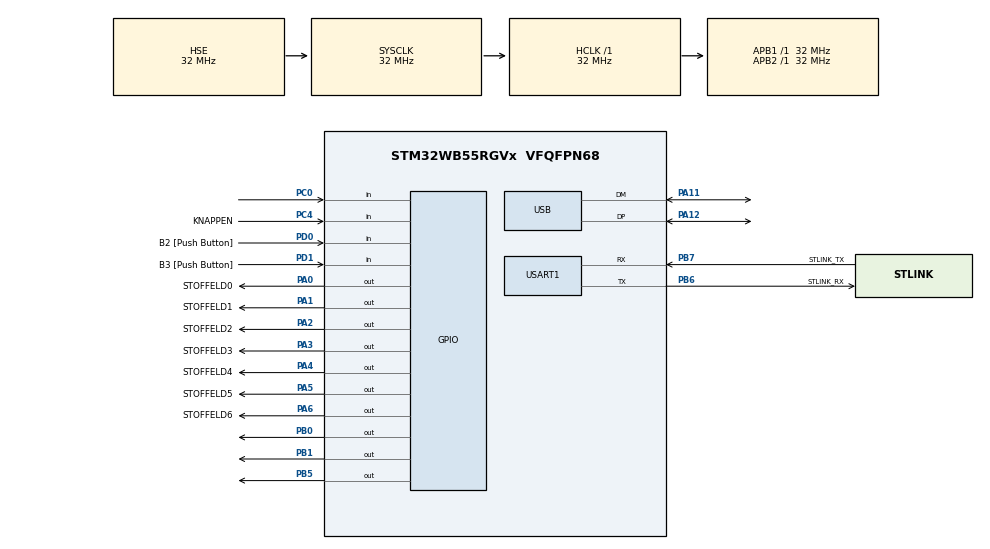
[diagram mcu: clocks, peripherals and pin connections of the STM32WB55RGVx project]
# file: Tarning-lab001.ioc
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Mcu.Family=STM32WB
PA2.GPIO_PuPd=GPIO_PULLUP
RCC.CortexFreq_Value=32000000
RCC.SMPSCLockSelectionVirtualVirtual=RCC_SMPSCLKSOURCE_HSI
USART1.WordLength=WORDLENGTH_7B
PA14.GPIO_Label=JTCK
PA3.GPIO_PuPd=GPIO_PULLUP
PA0.PinState=GPIO_PIN_SET
PA0.GPIO_Label=STOFFELD0
PD0.GPIO_Label=B2 [Push Button]
PA11.Mode=Device
PA6.GPIO_Label=STOFFELD6
PB6.GPIO_Label=STLINK_RX
PA5.PinState=GPIO_PIN_SET
RCC.SYSCLKSource=RCC_SYSCLKSOURCE_HSE
ProjectManager.StackSize=0x400
PA12.Signal=USB_DP
RCC.HCLKFreq_Value=32000000
RCC.APB2TimFreq_Value=32000000
PB6.Signal=USART1_TX
PB6.Mode=Asynchronous
PD0.Signal=GPIO_Input
OSC_OUT.Mode=HSE-External-Oscillator
PA1.GPIO_PuPd=GPIO_PULLUP
OSC_OUT.Signal=RCC_OSC_OUT
RCC.AHBFreq_Value=32000000
RCC.HSE_VALUE=32000000
PA4.GPIO_PuPd=GPIO_PULLUP
PB3.Mode=Trace_Asynchronous_SW
PD1.GPIO_Label=B3 [Push Button]
PA2.PinState=GPIO_PIN_SET
PA6.GPIO_PuPd=GPIO_PULLUP
PC14-OSC32_IN.Mode=LSE-External-Oscillator
PC4.GPIO_Label=KNAPPEN
PA14.Mode=Trace_Asynchronous_SW
PA5.GPIO_PuPd=GPIO_PULLUP
PB7.Signal=USART1_RX
PA0.Signal=GPIO_Output
RCC.APB3Freq_Value=16000000
PB7.GPIO_Label=STLINK_TX
Mcu.Package=VFQFPN68
PB1.Signal=GPIO_Output
PA6.Signal=GPIO_Output
PA0.GPIO_PuPd=GPIO_PULLUP
PA2.GPIO_Label=STOFFELD2
PA1.PinState=GPIO_PIN_SET
RCC.APB1TimFreq_Value=32000000
RCC.SMPSDivider=1
PA4.GPIO_Label=STOFFELD4
RCC.HSI48_VALUE=48000000
RCC.PLLSAI1N=24
PA3.Signal=GPIO_Output
PB3.GPIO_Label=JTDO
PB7.GPIO_PuPd=GPIO_PULLUP
PC15-OSC32_OUT.Mode=LSE-External-Oscillator
PC13.Signal=SYS_WKUP2
PB6.GPIO_PuPd=GPIO_PULLUP
PC4.Signal=GPIO_Input
PD1.Signal=GPIO_Input
PA6.PinState=GPIO_PIN_SET
PC0.Signal=GPIO_Input
PC14-OSC32_IN.Signal=RCC_OSC32_IN
USART1.VirtualMode-Asynchronous=VM_ASYNC
PA13.Signal=SYS_JTMS-SWDIO
PA4.PinState=GPIO_PIN_SET
ProjectManager.TargetToolchain=STM32CubeIDE
OSC_IN.Signal=RCC_OSC_IN
RCC.USBFreq_Value=48000000
PC15-OSC32_OUT.Signal=RCC_OSC32_OUT
PA1.Signal=GPIO_Output
PA5.Signal=GPIO_Output
RCC.SMPSCLockSelectionVirtual=RCC_SMPSCLKSOURCE_HSI
board=NUCLEO-WB55RG
RCC.VCOOutputFreq_Value=128000000
RCC.APB2Freq_Value=32000000
RCC.ADCFreq_Value=48000000
PA1.GPIO_Label=STOFFELD1
PC13.Mode=SYS_WakeUp1
PA13.Mode=Trace_Asynchronous_SW
Mcu.Name=STM32WB55RGVx
PA2.Signal=GPIO_Output
PA13.GPIO_Label=JTMS
PB3.Signal=SYS_JTDO-SWO
PA4.Signal=GPIO_Output
RCC.SYSCLKFreq_VALUE=32000000
PB5.Signal=GPIO_Output
PA12.Mode=Device
PA5.GPIO_Label=STOFFELD5
OSC_IN.Mode=HSE-External-Oscillator
PB7.Mode=Asynchronous
PA11.Signal=USB_DM
PA14.Signal=SYS_JTCK-SWCLK
ProjectManager.HeapSize=0x200
RCC.HSI_VALUE=16000000
NVIC.PriorityGroup=NVIC_PRIORITYGROUP_4
RCC.PLLN=32
PA3.PinState=GPIO_PIN_SET
RCC.APB1Freq_Value=32000000
PB0.Signal=GPIO_Output
PA3.GPIO_Label=STOFFELD3

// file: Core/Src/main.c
/* USER CODE BEGIN Header */
/**
  ******************************************************************************
  * @file           : main.c
  * @brief          : Main program body
  ******************************************************************************
  * @attention
  *
  * <h2><center>&copy; Copyright (c) 2021 STMicroelectronics.
  * All rights reserved.</center></h2>
  *
  * This software component is licensed by ST under BSD 3-Clause license,
  * the "License"; You may not use this file except in compliance with the
  * License. You may obtain a copy of the License at:
  *                        opensource.org/licenses/BSD-3-Clause
  *
  ******************************************************************************
  */
/* USER CODE END Header */
#include "main.h"

UART_HandleTypeDef huart1;

PCD_HandleTypeDef hpcd_USB_FS;

void SystemClock_Config(void);
static void MX_GPIO_Init(void);
static void MX_USART1_UART_Init(void);
static void MX_USB_PCD_Init(void);

/* USER CODE BEGIN 0 */
void resetLed(){
	//SET = HÖG = LED LYSER INTE
	HAL_GPIO_WritePin(STOFFELD1_GPIO_Port, STOFFELD1_Pin, GPIO_PIN_SET);
	HAL_GPIO_WritePin(STOFFELD2_GPIO_Port, STOFFELD2_Pin, GPIO_PIN_SET);
	HAL_GPIO_WritePin(STOFFELD3_GPIO_Port, STOFFELD3_Pin, GPIO_PIN_SET);
	HAL_GPIO_WritePin(STOFFELD4_GPIO_Port, STOFFELD4_Pin, GPIO_PIN_SET);
	HAL_GPIO_WritePin(STOFFELD5_GPIO_Port, STOFFELD5_Pin, GPIO_PIN_SET);
	HAL_GPIO_WritePin(STOFFELD6_GPIO_Port, STOFFELD6_Pin, GPIO_PIN_SET);
}

void updateLed(int ledNr){
	resetLed();

	ledNr = (ledNr % 6)+1;

	//RESET == LÅG == LED LYSER
	if(ledNr == 1)
		HAL_GPIO_WritePin(STOFFELD1_GPIO_Port, STOFFELD1_Pin, GPIO_PIN_RESET);
	else if(ledNr == 2)
		HAL_GPIO_WritePin(STOFFELD2_GPIO_Port, STOFFELD2_Pin, GPIO_PIN_RESET);
	else if(ledNr == 3)
		HAL_GPIO_WritePin(STOFFELD3_GPIO_Port, STOFFELD3_Pin, GPIO_PIN_RESET);
	else if(ledNr == 4)
		HAL_GPIO_WritePin(STOFFELD4_GPIO_Port, STOFFELD4_Pin, GPIO_PIN_RESET);
	else if(ledNr == 5)
		HAL_GPIO_WritePin(STOFFELD5_GPIO_Port, STOFFELD5_Pin, GPIO_PIN_RESET);
	else if(ledNr == 6)
		HAL_GPIO_WritePin(STOFFELD6_GPIO_Port, STOFFELD6_Pin, GPIO_PIN_RESET);
}

/* USER CODE END 0 */

int main(void)
{

  /* MCU Configuration--------------------------------------------------------*/

  /* Reset of all peripherals, Initializes the Flash interface and the Systick. */
  HAL_Init();

  /* Configure the system clock */
  SystemClock_Config();

  /* Initialize all configured peripherals */
  MX_GPIO_Init();
  MX_USART1_UART_Init();
  MX_USB_PCD_Init();

  /* Infinite loop */
  /* USER CODE BEGIN WHILE */
  int ledNr = 0;
  while (1)
  {
	  while(HAL_GPIO_ReadPin(KNAPPEN_GPIO_Port, KNAPPEN_Pin)){
		 ledNr += 1;
		 HAL_Delay(5);
	  }
	  updateLed(ledNr);
    /* USER CODE END WHILE */

  }
}

void SystemClock_Config(void)
{
  RCC_OscInitTypeDef RCC_OscInitStruct = {0};
  RCC_ClkInitTypeDef RCC_ClkInitStruct = {0};
  RCC_PeriphCLKInitTypeDef PeriphClkInitStruct = {0};

  /** Macro to configure the PLL multiplication factor
  */
  __HAL_RCC_PLL_PLLM_CONFIG(RCC_PLLM_DIV1);
  /** Macro to configure the PLL clock source
  */
  __HAL_RCC_PLL_PLLSOURCE_CONFIG(RCC_PLLSOURCE_MSI);
  /** Configure LSE Drive Capability
  */
  HAL_PWR_EnableBkUpAccess();
  __HAL_RCC_LSEDRIVE_CONFIG(RCC_LSEDRIVE_LOW);
  /** Configure the main internal regulator output voltage
  */
  __HAL_PWR_VOLTAGESCALING_CONFIG(PWR_REGULATOR_VOLTAGE_SCALE1);
  /** Initializes the RCC Oscillators according to the specified parameters
  * in the RCC_OscInitTypeDef structure.
  */
  RCC_OscInitStruct.OscillatorType = RCC_OSCILLATORTYPE_HSI|RCC_OSCILLATORTYPE_HSE
                              |RCC_OSCILLATORTYPE_LSE|RCC_OSCILLATORTYPE_MSI;
  RCC_OscInitStruct.HSEState = RCC_HSE_ON;
  RCC_OscInitStruct.LSEState = RCC_LSE_ON;
  RCC_OscInitStruct.HSIState = RCC_HSI_ON;
  RCC_OscInitStruct.MSIState = RCC_MSI_ON;
  RCC_OscInitStruct.HSICalibrationValue = RCC_HSICALIBRATION_DEFAULT;
  RCC_OscInitStruct.MSICalibrationValue = RCC_MSICALIBRATION_DEFAULT;
  RCC_OscInitStruct.MSIClockRange = RCC_MSIRANGE_6;
  RCC_OscInitStruct.PLL.PLLState = RCC_PLL_NONE;
  if (HAL_RCC_OscConfig(&RCC_OscInitStruct) != HAL_OK)
  {
    Error_Handler();
  }
  /** Configure the SYSCLKSource, HCLK, PCLK1 and PCLK2 clocks dividers
  */
  RCC_ClkInitStruct.ClockType = RCC_CLOCKTYPE_HCLK4|RCC_CLOCKTYPE_HCLK2
                              |RCC_CLOCKTYPE_HCLK|RCC_CLOCKTYPE_SYSCLK
                              |RCC_CLOCKTYPE_PCLK1|RCC_CLOCKTYPE_PCLK2;
  RCC_ClkInitStruct.SYSCLKSource = RCC_SYSCLKSOURCE_HSE;
  RCC_ClkInitStruct.AHBCLKDivider = RCC_SYSCLK_DIV1;
  RCC_ClkInitStruct.APB1CLKDivider = RCC_HCLK_DIV1;
  RCC_ClkInitStruct.APB2CLKDivider = RCC_HCLK_DIV1;
  RCC_ClkInitStruct.AHBCLK2Divider = RCC_SYSCLK_DIV1;
  RCC_ClkInitStruct.AHBCLK4Divider = RCC_SYSCLK_DIV1;

  if (HAL_RCC_ClockConfig(&RCC_ClkInitStruct, FLASH_LATENCY_1) != HAL_OK)
  {
    Error_Handler();
  }
  /** Initializes the peripherals clocks
  */
  PeriphClkInitStruct.PeriphClockSelection = RCC_PERIPHCLK_SMPS|RCC_PERIPHCLK_USART1
                              |RCC_PERIPHCLK_USB;
  PeriphClkInitStruct.PLLSAI1.PLLN = 24;
  PeriphClkInitStruct.PLLSAI1.PLLP = RCC_PLLP_DIV2;
  PeriphClkInitStruct.PLLSAI1.PLLQ = RCC_PLLQ_DIV2;
  PeriphClkInitStruct.PLLSAI1.PLLR = RCC_PLLR_DIV2;
  PeriphClkInitStruct.PLLSAI1.PLLSAI1ClockOut = RCC_PLLSAI1_USBCLK;
  PeriphClkInitStruct.Usart1ClockSelection = RCC_USART1CLKSOURCE_PCLK2;
  PeriphClkInitStruct.UsbClockSelection = RCC_USBCLKSOURCE_PLLSAI1;
  PeriphClkInitStruct.SmpsClockSelection = RCC_SMPSCLKSOURCE_HSI;
  PeriphClkInitStruct.SmpsDivSelection = RCC_SMPSCLKDIV_RANGE0;
  if (HAL_RCCEx_PeriphCLKConfig(&PeriphClkInitStruct) != HAL_OK)
  {
    Error_Handler();
  }
  /** Enable MSI Auto calibration
  */
  HAL_RCCEx_EnableMSIPLLMode();
}

static void MX_USART1_UART_Init(void)
{

  huart1.Instance = USART1;
  huart1.Init.BaudRate = 115200;
  huart1.Init.WordLength = UART_WORDLENGTH_7B;
  huart1.Init.StopBits = UART_STOPBITS_1;
  huart1.Init.Parity = UART_PARITY_NONE;
  huart1.Init.Mode = UART_MODE_TX_RX;
  huart1.Init.HwFlowCtl = UART_HWCONTROL_NONE;
  huart1.Init.OverSampling = UART_OVERSAMPLING_16;
  huart1.Init.OneBitSampling = UART_ONE_BIT_SAMPLE_DISABLE;
  huart1.Init.ClockPrescaler = UART_PRESCALER_DIV1;
  huart1.AdvancedInit.AdvFeatureInit = UART_ADVFEATURE_NO_INIT;
  if (HAL_UART_Init(&huart1) != HAL_OK)
  {
    Error_Handler();
  }
  if (HAL_UARTEx_SetTxFifoThreshold(&huart1, UART_TXFIFO_THRESHOLD_1_8) != HAL_OK)
  {
    Error_Handler();
  }
  if (HAL_UARTEx_SetRxFifoThreshold(&huart1, UART_RXFIFO_THRESHOLD_1_8) != HAL_OK)
  {
    Error_Handler();
  }
  if (HAL_UARTEx_DisableFifoMode(&huart1) != HAL_OK)
  {
    Error_Handler();
  }

}

static void MX_USB_PCD_Init(void)
{

  hpcd_USB_FS.Instance = USB;
  hpcd_USB_FS.Init.dev_endpoints = 8;
  hpcd_USB_FS.Init.speed = PCD_SPEED_FULL;
  hpcd_USB_FS.Init.phy_itface = PCD_PHY_EMBEDDED;
  hpcd_USB_FS.Init.Sof_enable = DISABLE;
  hpcd_USB_FS.Init.low_power_enable = DISABLE;
  hpcd_USB_FS.Init.lpm_enable = DISABLE;
  hpcd_USB_FS.Init.battery_charging_enable = DISABLE;
  if (HAL_PCD_Init(&hpcd_USB_FS) != HAL_OK)
  {
    Error_Handler();
  }

}

static void MX_GPIO_Init(void)
{
  GPIO_InitTypeDef GPIO_InitStruct = {0};

  /* GPIO Ports Clock Enable */
  __HAL_RCC_GPIOC_CLK_ENABLE();
  __HAL_RCC_GPIOA_CLK_ENABLE();
  __HAL_RCC_GPIOB_CLK_ENABLE();
  __HAL_RCC_GPIOD_CLK_ENABLE();

  /*Configure GPIO pin Output Level */
  HAL_GPIO_WritePin(GPIOA, STOFFELD0_Pin|STOFFELD1_Pin|STOFFELD2_Pin|STOFFELD3_Pin
                          |STOFFELD4_Pin|STOFFELD5_Pin|STOFFELD6_Pin, GPIO_PIN_SET);

  /*Configure GPIO pin Output Level */
  HAL_GPIO_WritePin(GPIOB, GPIO_PIN_0|GPIO_PIN_1|GPIO_PIN_5, GPIO_PIN_RESET);

  /*Configure GPIO pins : PC0 KNAPPEN_Pin */
  GPIO_InitStruct.Pin = GPIO_PIN_0|KNAPPEN_Pin;
  GPIO_InitStruct.Mode = GPIO_MODE_INPUT;
  GPIO_InitStruct.Pull = GPIO_NOPULL;
  HAL_GPIO_Init(GPIOC, &GPIO_InitStruct);

  /*Configure GPIO pins : STOFFELD0_Pin STOFFELD1_Pin STOFFELD2_Pin STOFFELD3_Pin
                           STOFFELD4_Pin STOFFELD5_Pin STOFFELD6_Pin */
  GPIO_InitStruct.Pin = STOFFELD0_Pin|STOFFELD1_Pin|STOFFELD2_Pin|STOFFELD3_Pin
                          |STOFFELD4_Pin|STOFFELD5_Pin|STOFFELD6_Pin;
  GPIO_InitStruct.Mode = GPIO_MODE_OUTPUT_PP;
  GPIO_InitStruct.Pull = GPIO_PULLUP;
  GPIO_InitStruct.Speed = GPIO_SPEED_FREQ_LOW;
  HAL_GPIO_Init(GPIOA, &GPIO_InitStruct);

  /*Configure GPIO pins : PB0 PB1 PB5 */
  GPIO_InitStruct.Pin = GPIO_PIN_0|GPIO_PIN_1|GPIO_PIN_5;
  GPIO_InitStruct.Mode = GPIO_MODE_OUTPUT_PP;
  GPIO_InitStruct.Pull = GPIO_NOPULL;
  GPIO_InitStruct.Speed = GPIO_SPEED_FREQ_LOW;
  HAL_GPIO_Init(GPIOB, &GPIO_InitStruct);

  /*Configure GPIO pins : B2_Pin B3_Pin */
  GPIO_InitStruct.Pin = B2_Pin|B3_Pin;
  GPIO_InitStruct.Mode = GPIO_MODE_INPUT;
  GPIO_InitStruct.Pull = GPIO_NOPULL;
  HAL_GPIO_Init(GPIOD, &GPIO_InitStruct);

}

void Error_Handler(void)
{
  __disable_irq();
  while (1)
  {
  }
}

/************************ (C) COPYRIGHT STMicroelectronics *****END OF FILE****/
